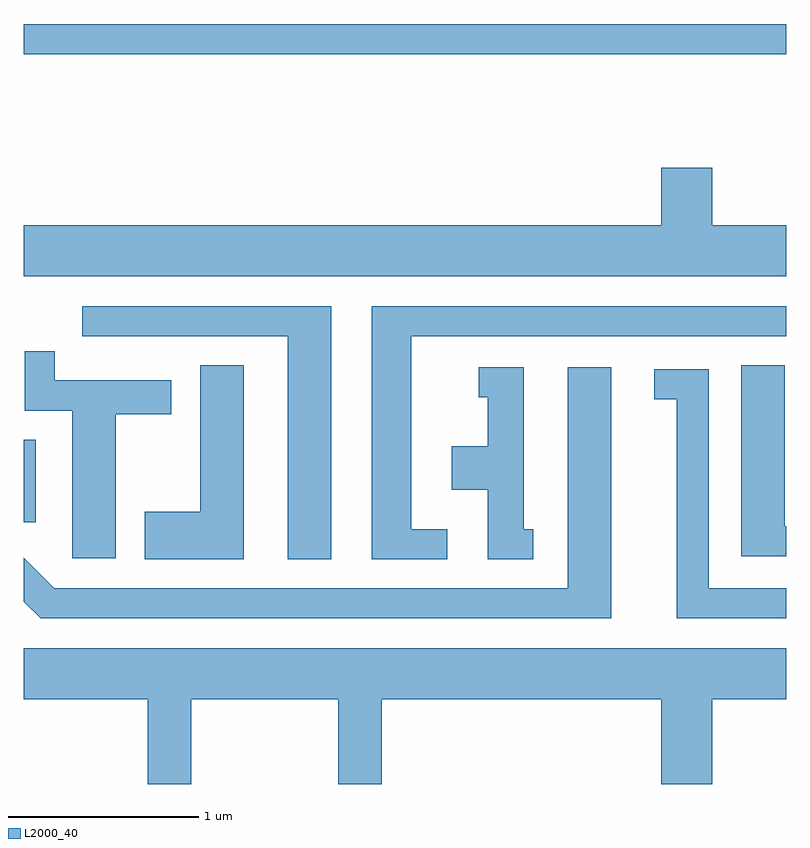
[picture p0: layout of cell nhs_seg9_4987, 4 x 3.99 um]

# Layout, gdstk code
import gdstk
lib = gdstk.Library(unit=1e-6, precision=1e-09)
def R(c, l, rs):  # rectangles x0, y0, x1, y1
    for r in rs: c.add(gdstk.rectangle(r[:2], r[2:], *l))
def P(c, l, *ps):  # polygons
    for p in ps: c.add(gdstk.Polygon(p, *l))
L2000_40 = (2000, 40)

nhs_seg9_4987 = lib.new_cell('nhs_seg9_4987')
R(nhs_seg9_4987, L2000_40, [(331.611,2043.806,331.674,2044.239), (331.611,2046.261,335.611,2046.419)])
P(nhs_seg9_4987, L2000_40, [(335.611,2045.364),(335.224,2045.364),(335.224,2045.664),(334.956,2045.664),(334.956,2045.364),(331.611,2045.364),(331.611,2045.096),(335.611,2045.096)],
  [(333.224,2044.939),(331.918,2044.939),(331.918,2044.781),(332.996,2044.781),(332.996,2043.611),(333.224,2043.611)],
  [(333.833,2043.769),(333.644,2043.769),(333.644,2044.781),(335.611,2044.781),(335.611,2044.939),(333.436,2044.939),(333.436,2043.611),(333.833,2043.611)],
  [(332.094,2044.371),(332.384,2044.371),(332.384,2044.549),(331.774,2044.549),(331.774,2044.703),(331.616,2044.703),(331.616,2044.391),(331.866,2044.391),(331.866,2043.616),(332.094,2043.616)],
  [(332.764,2044.629),(332.536,2044.629),(332.536,2043.859),(332.246,2043.859),(332.246,2043.611),(332.764,2043.611)],
  [(335.611,2043.784),(335.604,2043.784),(335.604,2044.629),(335.376,2044.629),(335.376,2043.626),(335.611,2043.626)],
  [(334.283,2043.769),(334.234,2043.769),(334.234,2044.619),(333.998,2044.619),(333.998,2044.461),(334.046,2044.461),(334.046,2044.204),(333.856,2044.204),(333.856,2043.976),(334.046,2043.976),(334.046,2043.611),(334.283,2043.611)],
  [(334.694,2044.619),(334.466,2044.619),(334.466,2043.459),(331.772,2043.459),(331.612,2043.619),(331.611,2043.619),(331.611,2043.389),(331.699,2043.301),(334.694,2043.301)],
  [(335.611,2043.459),(335.204,2043.459),(335.204,2044.609),(334.918,2044.609),(334.918,2044.451),(335.036,2044.451),(335.036,2043.301),(335.611,2043.301)],
  [(332.489,2042.876),(333.261,2042.876),(333.261,2042.432),(333.489,2042.432),(333.489,2042.876),(334.956,2042.876),(334.956,2042.432),(335.224,2042.432),(335.224,2042.876),(335.611,2042.876),(335.611,2043.144),(331.611,2043.144),(331.611,2042.876),(332.261,2042.876),(332.261,2042.432),(332.489,2042.432)])

lib.write_gds('nhs_seg9_4987.gds')
